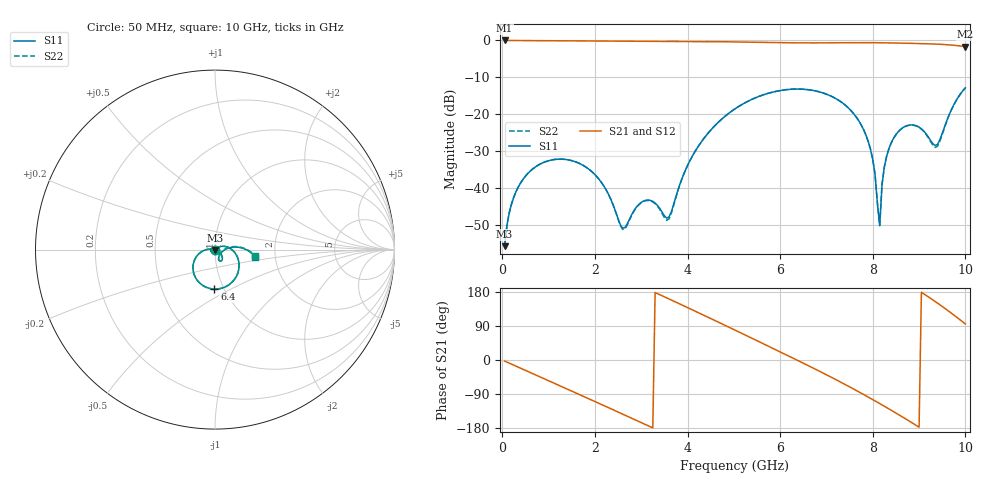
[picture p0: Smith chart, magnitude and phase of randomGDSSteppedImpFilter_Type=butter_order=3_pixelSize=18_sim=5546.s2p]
! freq	dB(S11)	phase(S11)	dB(S12)	phase(S12)
!  dB(S21)	phase(S21)	dB(S22)	phase(S22)
!S-par simulation data
#  GHz  S  DB  R 50
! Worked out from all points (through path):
!   200 points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, 50 MHz to 10 GHz, reference 50 ohm
!   highest |S21| = -0.01 dB at 50 MHz (marker M1); lowest = -1.7 dB at 10 GHz (marker M2)
!   group delay of S21, straight-line fit = 168 ps
!   lowest |S11| = -55.7 dB at 50 MHz (marker M3), VSWR 1.00, Z = 50 - j0.161 ohm
!   |S11| at or under -10 dB: start of sweep to end of sweep
!   |S22| runs from -55.7 to -12.8 dB; largest |S21 - S12| = 0
!   S11 on the Smith chart (normalised r, x): 50 MHz: 1.00, -0.00; 6.4 GHz: 0.90, -0.42; 10 GHz: 1.57, -0.13
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0.05  -55.65 -77.2  -0.01 -2.8  -0.01 -2.8  -55.65 -77.2
0.2  -44.20 -97.4  -0.02 -11.0  -0.02 -11.0  -44.20 -97.4
0.55  -36.00 -120.4  -0.04 -30.2  -0.04 -30.2  -36.00 -120.4
1.75  -33.83 168.2  -0.11 -95.8  -0.11 -95.8  -33.83 168.3
2.6  -50.82 45.4  -0.17 -142.8  -0.17 -142.8  -51.15 46.0
3.05  -43.44 -49.9  -0.20 -167.9  -0.20 -167.9  -43.56 -51.1
3.4  -45.43 -54.3  -0.23 172.4  -0.23 172.4  -45.70 -56.0
3.6  -47.77 -5.8  -0.24 161.1  -0.24 161.1  -48.31 -4.7
4.15  -30.29 31.9  -0.29 129.8  -0.29 129.8  -30.30 32.5
5.05  -18.29 -13.6  -0.40 77.4  -0.40 77.4  -18.29 -13.4
5.75  -14.27 -53.3  -0.55 36.2  -0.55 36.2  -14.27 -53.2
6.4  -13.15 -90.8  -0.65 -2.4  -0.65 -2.4  -13.15 -90.7
6.7  -13.50 -108.4  -0.67 -20.5  -0.67 -20.5  -13.50 -108.4
7.8  -24.08 -175.4  -0.60 -90.9  -0.60 -90.9  -24.08 -175.3
8  -32.22 173.3  -0.61 -104.5  -0.61 -104.5  -32.20 173.7
8.15  -50.14 -46.2  -0.63 -114.9  -0.63 -114.9  -49.98 -50.8
8.2  -38.90 -28.7  -0.63 -118.5  -0.63 -118.5  -38.93 -30.3
8.35  -29.22 -34.2  -0.66 -129.1  -0.66 -129.1  -29.24 -34.9
8.75  -23.00 -57.1  -0.77 -158.3  -0.77 -158.3  -23.04 -57.9
9.2  -26.12 -64.8  -0.91 166.7  -0.91 166.7  -26.35 -66.3
9.4  -28.06 -22.5  -1.01 150.0  -1.01 150.0  -28.57 -21.6
10  -12.82 -10.1  -1.67 95.1  -1.67 95.1  -12.84 -9.2
